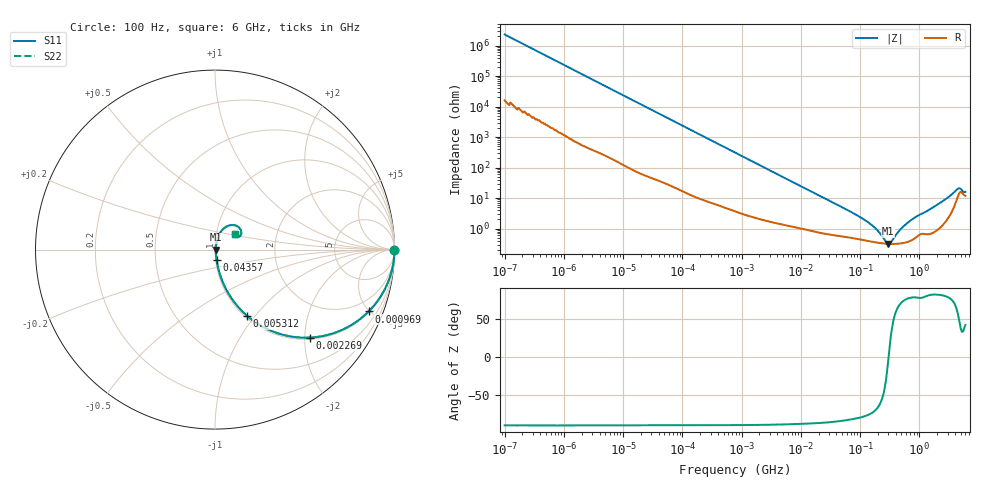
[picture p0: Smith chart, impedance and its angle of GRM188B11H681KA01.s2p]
!Murata Part Number: GRM188B11H681KA01
!These Parameters are Measured in Series Mode Connection
!Data Generated on Mar 30, 2021
!  o--ll--o
!Port1  Port2
!  o------o
!Operation Temp=25[degC], DC Bias Voltage=0[V]
!Freq. Start=100[Hz] Stop=6[GHz] 401[Steps]
# Hz S RI R 50
!Freq.(Hz) S11(Real) S11(Imag) S21(Real) S21(Imag) S12(Real) S12(Imag) S22(Real) S22(Imag)
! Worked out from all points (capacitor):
!   401 points, 100 Hz to 6 GHz, reference 50 ohm
!   read as one part in series: C = 687 pF near 109 Hz
!   lowest |Z| = 317 mohm at 298.8 MHz (marker M1)
!   series resonance near 303.3 MHz, so ESL is about 400 pH
!   S11 on the Smith chart (normalised r, x): 100 Hz: open; 969 kHz: 1.06, -4.95; 2.269 MHz: 1.04, -2.12; 5.312 MHz: 1.03, -0.91; 43.57 MHz: 1.01, -0.11; 6 GHz: 1.24, +0.21
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100  1 -4.32e-05  3e-07 4.32e-05  3e-07 4.32e-05  1 -4.32e-05
245  1 -0.000105  6e-07 0.000105  6e-07 0.000105  1 -0.000105
2008  1 -0.000859  4.7e-06 0.000859  4.7e-06 0.000859  1 -0.000859
40335  0.9996 -0.0171  0.000399 0.0171  0.000399 0.0171  0.9996 -0.0171
231233  0.9899 -0.0962  0.0101 0.0962  0.0101 0.0962  0.9899 -0.0962
774597  0.9024 -0.2909  0.0976 0.2909  0.0976 0.2909  0.9024 -0.2909
968953  0.8564 -0.3444  0.1436 0.3444  0.1436 0.3444  0.8564 -0.3444
2268635  0.5298 -0.4901  0.4702 0.4901  0.4702 0.4901  0.5298 -0.4901
5311619  0.18 -0.3701  0.82 0.3701  0.82 0.3701  0.18 -0.3701
8692127  0.0817 -0.2556  0.9183 0.2556  0.9183 0.2556  0.0817 -0.2556
1.555665e7  0.0321 -0.1523  0.9679 0.1523  0.9679 0.1523  0.0321 -0.1523
4.35672e7  0.00888 -0.0561  0.9911 0.0561  0.9911 0.0561  0.00888 -0.0561
1.459435e8  0.00399 -0.014  0.996 0.014  0.996 0.014  0.00399 -0.014
1.909225e8  0.00353 -0.00855  0.9965 0.00855  0.9965 0.00855  0.00353 -0.00855
2.731619e8  0.00319 -0.00189  0.9968 0.00189  0.9968 0.00189  0.00319 -0.00189
2.987521e8  0.00315 -0.000272  0.9968 0.000272  0.9968 0.000272  0.00315 -0.000272
3.124326e8  0.00314 0.000541  0.9969 -0.000541  0.9969 -0.000541  0.00314 0.000541
5.112761e8  0.00339 0.01  0.9966 -0.01  0.9966 -0.01  0.00339 0.01
8.366708e8  0.00524 0.0222  0.9948 -0.0222  0.9948 -0.0222  0.00524 0.0222
2.802721e9  0.0247 0.0876  0.9753 -0.0876  0.9753 -0.0876  0.0247 0.0876
4.385646e9  0.1114 0.1358  0.8886 -0.1358  0.8886 -0.1358  0.1114 0.1358
6e9  0.114 0.0843  0.886 -0.0843  0.886 -0.0843  0.114 0.0843
